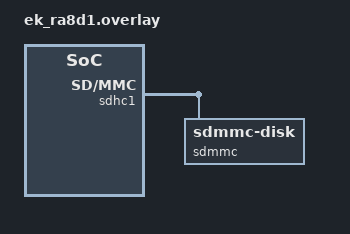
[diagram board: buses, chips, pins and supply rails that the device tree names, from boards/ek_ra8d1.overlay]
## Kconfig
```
# SPDX-License-Identifier: Apache-2.0
# Copyright 2022 NXP

mainmenu "Disk driver access test"

config MAIN_STACK_SIZE
	default 1280 if (MMC_STACK && IMX_USDHC)

source "Kconfig.zephyr"
```

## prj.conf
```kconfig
CONFIG_TEST=y
CONFIG_ZTEST=y
CONFIG_DISK_ACCESS=y
CONFIG_MAIN_STACK_SIZE=2048
```

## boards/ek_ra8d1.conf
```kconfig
CONFIG_DISK_DRIVER_SDMMC=y
```

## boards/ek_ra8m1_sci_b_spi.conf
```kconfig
# Copyright (c) 2025 Renesas Electronics Corporation
# SPDX-License-Identifier: Apache-2.0

CONFIG_MAIN_STACK_SIZE=1280
```

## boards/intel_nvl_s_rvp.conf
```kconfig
CONFIG_NVME=y
CONFIG_PCIE_MSI=y
CONFIG_PCIE_MSI_X=y
CONFIG_PCIE_MSI_MULTI_VECTOR=y
```

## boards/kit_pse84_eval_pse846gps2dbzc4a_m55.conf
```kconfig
# SPDX-FileCopyrightText: Copyright (c) 2026 Infineon Technologies AG,
# SPDX-FileCopyrightText: or an affiliate of Infineon Technologies AG. All rights reserved.
#
# SPDX-License-Identifier: Apache-2.0

CONFIG_MAIN_STACK_SIZE=4096
```

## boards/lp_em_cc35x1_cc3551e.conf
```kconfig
CONFIG_SDHC=y
CONFIG_SDHC_TI_CC35XX=y

# Disable SPI due to pin conflict
CONFIG_SPI=n
CONFIG_SPI_CC35XX=n
```

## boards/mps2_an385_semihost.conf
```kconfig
# Copyright (c) 2026 RBR Ltd.
# SPDX-License-Identifier: Apache-2.0

CONFIG_SEMIHOST=y
```

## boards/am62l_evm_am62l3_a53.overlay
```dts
/*
 * Copyright (c) 2026 Texas Instruments
 *
 * SPDX-License-Identifier: Apache-2.0
 */

&main_sdhci0 {
	mmc {
		disk-name = "SD2";
	};
};

&main_sdhci1 {
	status = "disabled";

	sd {
		status = "disabled";
	};
};
```

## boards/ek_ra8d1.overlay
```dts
/*
 * Copyright (c) 2024 Renesas Electronics Corporation
 * SPDX-License-Identifier: Apache-2.0
 */

/ {
	aliases {
		sdhc1 = &sdhc1;
	};
};

&sdhc1 {
	compatible = "renesas,ra-sdhc";
	interrupt-names = "accs", "card", "dma-req";
	interrupts = <60 12>, <61 12>, <62 12>;
	pinctrl-0 = <&sdhc1_default>;
	pinctrl-names = "default";
	status = "okay";
	sdmmc {
		compatible = "zephyr,sdmmc-disk";
		disk-name = "SD";
		status = "okay";
	};
};
```

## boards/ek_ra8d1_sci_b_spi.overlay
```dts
/*
 * Copyright (c) 2025 Renesas Electronics Corporation
 * SPDX-License-Identifier: Apache-2.0
 */

&pinctrl {
	/* Set SW1-1 (PMOD1) to low and SW1-7 (SDRAM) to high */
	sci0_spi_default: sci0_spi_default {
		group1 {
			/* MISO MOSI SCK */
			psels = <RA_PSEL(RA_PSEL_SCI_0, 6, 10)>,
				<RA_PSEL(RA_PSEL_SCI_0, 6, 9)>,
				<RA_PSEL(RA_PSEL_SCI_0, 6, 11)>;
			drive-strength = "high";
		};
	};
};

&ioport6 {
	status = "okay";
};

&sci0 {
	pinctrl-0 = <&sci0_spi_default>;
	pinctrl-names = "default";

	spi {
		cs-gpios = <&ioport6 0x7 GPIO_ACTIVE_LOW>;
		status = "okay";

		sdcard@0 {
			compatible = "zephyr,sdhc-spi-slot";
			reg = <0>;
			spi-max-frequency = <1000000>;
			status = "okay";

			sdmmc {
				compatible = "zephyr,sdmmc-disk";
				disk-name = "SD";
				status = "okay";
			};
		};
	};

	uart {
		status = "disabled";
	};

	i2c {
		status = "disabled";
	};
};
```

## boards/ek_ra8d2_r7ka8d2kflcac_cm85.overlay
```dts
/*
 * Copyright (c) 2025 Renesas Electronics Corporation
 * SPDX-License-Identifier: Apache-2.0
 */

&pinctrl {
	sdhc1_default: sdhc1_default {
		group1 {
			psels = <RA_PSEL(RA_PSEL_SDHI, 4, 6)>, /* SDCD */
				<RA_PSEL(RA_PSEL_SDHI, 4, 1)>, /* SDCMD */
				<RA_PSEL(RA_PSEL_SDHI, 4, 2)>, /* SDDATA0 */
				<RA_PSEL(RA_PSEL_SDHI, 4, 3)>, /* SDDATA1 */
				<RA_PSEL(RA_PSEL_SDHI, 4, 4)>, /* SDDATA2 */
				<RA_PSEL(RA_PSEL_SDHI, 4, 5)>, /* SDDATA3 */
				<RA_PSEL(RA_PSEL_SDHI, 7, 0)>; /* SDWP */
			drive-strength = "high";
		};

		group2 {
			psels = <RA_PSEL(RA_PSEL_SDHI, 4, 0)>; /* SDCLK */
			drive-strength = "highspeed-high";
		};
	};
};

&sdhc1 {
	pinctrl-0 = <&sdhc1_default>;
	pinctrl-names = "default";
	interrupt-names = "accs", "card", "dma-req", "sdio-int";
	interrupts = <95 1>, <94 1>, <93 1>, <92 1>;
	status = "okay";

	sdmmc {
		compatible = "zephyr,sdmmc-disk";
		disk-name = "SD";
		status = "okay";
	};
};
```

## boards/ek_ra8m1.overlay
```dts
/*
 * Copyright (c) 2025 Renesas Electronics Corporation
 * SPDX-License-Identifier: Apache-2.0
 */

&pinctrl {
	sci3_spi_default: sci3_spi_default {
		group1 {
			/* MISO MOSI SCK */
			psels = <RA_PSEL(RA_PSEL_SCI_3, 9, 1)>,
				<RA_PSEL(RA_PSEL_SCI_3, 9, 0)>,
				<RA_PSEL(RA_PSEL_SCI_3, 3, 15)>;
			drive-strength = "high";
		};
	};
};

&ioport7 {
	status = "okay";
};

&sci3 {
	pinctrl-0 = <&sci3_spi_default>;
	pinctrl-names = "default";

	spi {
		cs-gpios = <&ioport7 13 GPIO_ACTIVE_LOW>;
		status = "okay";

		sdhc@0 {
			compatible = "zephyr,sdhc-spi-slot";
			reg = <0>;
			status = "okay";
			mmc {
				compatible = "zephyr,sdmmc-disk";
				disk-name = "SD";
				status = "okay";
			};
			spi-max-frequency = <1000000>;
		};
	};

	uart {
		status = "disabled";
	};

	i2c {
		status = "disabled";
	};

};
```

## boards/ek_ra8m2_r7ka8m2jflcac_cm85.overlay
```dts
/*
 * Copyright (c) 2025 Renesas Electronics Corporation
 * SPDX-License-Identifier: Apache-2.0
 */

&pinctrl {
	sdhc1_default: sdhc1_default {
		group1 {
			psels = <RA_PSEL(RA_PSEL_SDHI, 2, 5)>, /* SDCD */
				<RA_PSEL(RA_PSEL_SDHI, 2, 2)>, /* SDCMD */
				<RA_PSEL(RA_PSEL_SDHI, 3, 13)>, /* SDDATA0 */
				<RA_PSEL(RA_PSEL_SDHI, 3, 14)>, /* SDDATA1 */
				<RA_PSEL(RA_PSEL_SDHI, 4, 4)>, /* SDDATA2 */
				<RA_PSEL(RA_PSEL_SDHI, 8, 11)>, /* SDDATA3 */
				<RA_PSEL(RA_PSEL_SDHI, 2, 4)>; /* SDWP */
			drive-strength = "high";
		};

		group2 {
			psels = <RA_PSEL(RA_PSEL_SDHI, 2, 3)>; /* SDCLK */
			drive-strength = "highspeed-high";
		};
	};
};

&sdhc1 {
	pinctrl-0 = <&sdhc1_default>;
	pinctrl-names = "default";
	interrupt-names = "accs", "card", "dma-req", "sdio-int";
	interrupts = <95 1>, <94 1>, <93 1>, <92 1>;
	status = "okay";

	sdmmc {
		compatible = "zephyr,sdmmc-disk";
		disk-name = "SD";
		status = "okay";
	};
};
```

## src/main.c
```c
/*
 * Copyright (c) 2021 NXP
 *
 * SPDX-License-Identifier: Apache-2.0
 */

/*
 * WARNING: This test will overwrite data on any disk utilized. Do not run
 * this test with an disk that has useful data
 */

#include <zephyr/kernel.h>
#include <zephyr/ztest.h>
#include <zephyr/storage/disk_access.h>
#include <zephyr/device.h>

#ifdef CONFIG_DISK_DRIVER_LOOPBACK
#include <ff.h>
#include <zephyr/fs/fs.h>
#include <zephyr/drivers/loopback_disk.h>
#endif

#if defined(CONFIG_DISK_DRIVER_SDMMC)
#define DISK_NAME_PHYS "SD"
#elif defined(CONFIG_DISK_DRIVER_MMC)
#define DISK_NAME_PHYS "SD2"
#elif defined(CONFIG_DISK_DRIVER_FLASH) || defined(CONFIG_DISK_DRIVER_FTL)
#define DISK_NAME_PHYS "NAND"
#elif defined(CONFIG_NVME)
#define DISK_NAME_PHYS "nvme0n0"
#elif defined(CONFIG_DISK_DRIVER_VIRTIO_BLK)
#define DISK_NAME_PHYS "VIRTIOBLK0"
#elif defined(CONFIG_DISK_DRIVER_SEMIHOST)
#define DISK_NAME_PHYS "SEMIHOST"
#elif defined(CONFIG_DISK_DRIVER_MEMC_RAM)
#define DISK_NAME_PHYS "RAM"
#elif defined(CONFIG_DISK_DRIVER_RAM)
/* Since ramdisk is enabled by default on e.g. qemu boards, it needs to be checked last to not
 * override other backends.
 */
#define DISK_NAME_PHYS "RAM"
#else
#error "No disk device defined, is your board supported?"
#endif

#define RAM_SIZE (DT_CHOSEN_SRAM_SIZE / 1024)

/* QEMU can be told to advertise a larger logical block size (the
 * virtio_blk.blk4096 scenario); use it to size the scratch buffers so
 * sector_size * SECTOR_COUNT_MAX still fits in BUF_SIZE.
 */
#if defined(CONFIG_QEMU_VIRTIO_BLK_LOGICAL_BLOCK_SIZE)
#define TEST_QEMU_LOGICAL_BLOCK_SIZE CONFIG_QEMU_VIRTIO_BLK_LOGICAL_BLOCK_SIZE
#else
#define TEST_QEMU_LOGICAL_BLOCK_SIZE 0
#endif

#if RAM_SIZE >= 512
#if TEST_QEMU_LOGICAL_BLOCK_SIZE > 512
/* A larger logical block needs a proportionally larger buffer. */
#define MAX_TOTAL_BUF_SIZE 256
#else
/* Cap buffer size at 128 KiB */
#define MAX_TOTAL_BUF_SIZE 128
#endif
#elif CONFIG_SOC_POSIX
/* Posix does not define SRAM size */
#define MAX_TOTAL_BUF_SIZE 128
#else
/* Use half of all SRAM */
#define MAX_TOTAL_BUF_SIZE (RAM_SIZE / 2)
#endif

#define BUF_SIZE ((MAX_TOTAL_BUF_SIZE * 1024) / 2)

#ifdef CONFIG_DISK_DRIVER_LOOPBACK
#define DISK_NAME "loopback0"
#else
#define DISK_NAME DISK_NAME_PHYS
#endif

/* Sector counts to read */
#define SECTOR_COUNT1    8
#define SECTOR_COUNT2    1
#define SECTOR_COUNT3    29
#define SECTOR_COUNT4    31
#define SECTOR_COUNT_MAX 32

#define OVERFLOW_CANARY 0xDE

static const char *disk_pdrv = DISK_NAME;
static uint32_t disk_sector_count;
static uint32_t disk_sector_size;

/* + 4 to make sure the second buffer is dword-aligned for NVME */
static uint8_t scratch_buf[2][BUF_SIZE + 4];

#ifdef CONFIG_DISK_DRIVER_LOOPBACK
#define BACKING_PATH "/" DISK_NAME_PHYS ":"

static struct loopback_disk_access lo_access;
static FATFS fat_fs;
static struct fs_mount_t backing_mount = {
	.type = FS_FATFS,
	.mnt_point = BACKING_PATH,
	.fs_data = &fat_fs,
};
static const uint8_t zero_kb[1024] = {};
static void setup_loopback_backing(void)
{
	int rc;

	rc = fs_mkfs(FS_FATFS, (uintptr_t)&BACKING_PATH[1], NULL, 0);
	zassert_equal(rc, 0, "Failed to format backing file system");

	rc = fs_mount(&backing_mount);
	zassert_equal(rc, 0, "Failed to mount backing file system");

	struct fs_file_t f;

	fs_file_t_init(&f);
	rc = fs_open(&f, BACKING_PATH "/loopback.img", FS_O_WRITE | FS_O_CREATE);
	zassert_equal(rc, 0, "Failed to create backing file");
	for (int i = 0; i < 64; i++) {
		rc = fs_write(&f, zero_kb, sizeof(zero_kb));
		zassert_equal(rc, sizeof(zero_kb), "Failed to enlarge backing file");
	}
	rc = fs_close(&f);
	zassert_equal(rc, 0, "Failed to close backing file");

	rc = loopback_disk_access_register(&lo_access, BACKING_PATH "/loopback.img", DISK_NAME);
	zassert_equal(rc, 0, "Loopback disk access initialization failed");
}
#endif

/* Sets up test by initializing disk */
static void test_setup(void)
{
	int rc;
	uint32_t cmd_buf;

	rc = disk_access_init(disk_pdrv);
	zassert_equal(rc, 0, "Disk access initialization failed");

	rc = disk_access_status(disk_pdrv);
	zassert_equal(rc, DISK_STATUS_OK, "Disk status is not OK");

	rc = disk_access_ioctl(disk_pdrv, DISK_IOCTL_GET_SECTOR_COUNT, &cmd_buf);
	zassert_equal(rc, 0, "Disk ioctl get sector count failed");

	TC_PRINT("Disk reports %u sectors\n", cmd_buf);
	disk_sector_count = cmd_buf;

	rc = disk_access_ioctl(disk_pdrv, DISK_IOCTL_GET_SECTOR_SIZE, &cmd_buf);
	zassert_equal(rc, 0, "Disk ioctl get sector size failed");
	TC_PRINT("Disk reports sector size %u\n", cmd_buf);
	disk_sector_size = cmd_buf;

	/* We could allocate memory once we know the sector size, but instead
	 * just verify our assumed maximum size
	 */
	zassert_true(
		(disk_sector_size * SECTOR_COUNT_MAX) <= BUF_SIZE,
		"Test will fail, sector does not fit in buffer, buffer size must be increased");
}

/* Reads sectors, verifying overflow does not occur */
static int read_sector(uint8_t *buf, uint32_t start, uint32_t num_sectors)
{
	int rc;

	/* Set up overflow canary */
	buf[num_sectors * disk_sector_size] = OVERFLOW_CANARY;
	rc = disk_access_read(disk_pdrv, buf, start, num_sectors);
	/* Check canary */
	zassert_equal(buf[num_sectors * disk_sector_size], OVERFLOW_CANARY,
		      "Read overflowed requested length");
	return rc; /* Let calling function check return code */
}

/* Tests reading from a variety of sectors */
static void test_sector_read(uint8_t *buf, uint32_t num_sectors)
{
	int rc, sector;

	TC_PRINT("Testing reads of %u sectors\n", num_sectors);
	/* Read from disk sector 0*/
	rc = read_sector(buf, 0, num_sectors);
	zassert_equal(rc, 0, "Failed to read from sector zero");
	/* Read from a sector in the "middle" of the disk */
	if (disk_sector_count / 2 > num_sectors) {
		sector = disk_sector_count / 2 - num_sectors;
	} else {
		sector = 0;
	}

	rc = read_sector(buf, sector, num_sectors);
	zassert_equal(rc, 0, "Failed to read from mid disk sector");
	/* Read from the last sector */
	rc = read_sector(buf, disk_sector_count - 1, num_sectors);
	if (num_sectors == 1) {
		zassert_equal(rc, 0, "Failed to read from last sector");
	} else {
		zassert_not_equal(rc, 0, "Disk should fail to read out of sector bounds");
	}
}

/* Write sector of disk, and check the data to ensure it is valid
 * WARNING: this test is destructive- it will overwrite data on the disk!
 */
static int write_sector_checked(uint8_t *wbuf, uint8_t *rbuf, uint32_t start, uint32_t num_sectors)
{
	int rc, i;

	/* First, fill the write buffer with data */
	for (i = 0; i < num_sectors * disk_sector_size; i++) {
		wbuf[i] = (i & (~num_sectors));
	}
	/* Now write data to the sector */
	rc = disk_access_write(disk_pdrv, wbuf, start, num_sectors);
	if (rc) {
		return rc; /* Let calling function handle disk error */
	}
	/* Read back the written data into another buffer */
	memset(rbuf, 0, num_sectors * disk_sector_size);
	rc = read_sector(rbuf, start, num_sectors);
	if (rc) {
		return rc;
	}
	/* Check the read data versus the written data */
	zassert_mem_equal(wbuf, rbuf, num_sectors * disk_sector_size,
			  "Read data did not match data written to disk");
	return rc;
}

static int erase_sector_checked(uint8_t *rbuf, uint32_t start, uint32_t num_sectors)
{
	int rc, i;

	/* Erase the specified sectors */
	rc = disk_access_erase(disk_pdrv, start, num_sectors, DISK_ACCESS_ERASE_PHYSICAL);
	if (rc) {
		return rc; /* Let calling function handle disk error */
	}

	/* Read the erased sectors */
	rc = read_sector(rbuf, start, num_sectors);
	if (rc) {
		return rc;
	}

	/* All data should be equal 0x00 or 0xFF */
	for (i = 0; i < num_sectors * disk_sector_size; i++) {
		zassert_true((rbuf[i] == 0x00) || (rbuf[i] == 0xFF),
			     "Data not erased from disk sector %u", start + i);
	}
	return 0;
}

/* Tests writing to a variety of sectors
 * WARNING: this test is destructive- it will overwrite data on the disk!
 */
static void test_sector_write(uint8_t *wbuf, uint8_t *rbuf, uint32_t num_sectors)
{
	int rc, sector;

	TC_PRINT("Testing writes of %u sectors\n", num_sectors);
	/* Write to disk sector zero */
	rc = write_sector_checked(wbuf, rbuf, 0, num_sectors);
	zassert_equal(rc, 0, "Failed to write to sector zero");
	/* Write to a sector in the "middle" of the disk */
	if (disk_sector_count / 2 > num_sectors) {
		sector = disk_sector_count / 2 - num_sectors;
	} else {
		sector = 0;
	}

	rc = write_sector_checked(wbuf, rbuf, sector, num_sectors);
	zassert_equal(rc, 0, "Failed to write to mid disk sector");
	/* Write to the last sector */
	rc = write_sector_checked(wbuf, rbuf, disk_sector_count - 1, num_sectors);
	if (num_sectors == 1) {
		zassert_equal(rc, 0, "Failed to write to last sector");
	} else {
		zassert_not_equal(rc, 0, "Disk should fail to write out of sector bounds");
	}
}

/* Tests erasing a variety of sectors
 * WARNING: this test is destructive- it will overwrite data on the disk!
 */
static void test_sector_erase(uint8_t *wbuf, uint8_t *rbuf, uint32_t num_sectors)
{
	int rc, sector;

	TC_PRINT("Testing erase of %u sectors\n", num_sectors);
	/* Write and erase disk sector zero */
	rc = write_sector_checked(wbuf, rbuf, 0, num_sectors);
	zassert_equal(rc, 0, "Failed to write to sector zero");
	rc = erase_sector_checked(rbuf, 0, num_sectors);
	zassert_equal(rc, 0, "Failed to erase sector zero");

	/* Write and erase sectors in the "middle" of the disk */
	if (disk_sector_count / 2 > num_sectors) {
		sector = disk_sector_count / 2 - num_sectors;
	} else {
		sector = 0;
	}
	rc = write_sector_checked(wbuf, rbuf, sector, num_sectors);
	zassert_equal(rc, 0, "Failed to write to mid disk sector");
	rc = erase_sector_checked(rbuf, sector, num_sectors);
	zassert_equal(rc, 0, "Failed to erase mid disk sector");

	/* Write and erase the last sector */
	rc = write_sector_checked(wbuf, rbuf, disk_sector_count - num_sectors, num_sectors);
	zassert_equal(rc, 0, "Failed to write to last sector");
	rc = erase_sector_checked(rbuf, disk_sector_count - num_sectors, num_sectors);
	zassert_equal(rc, 0, "Failed to erase last sector");

	/* Try and erase past the last sector */
	rc = erase_sector_checked(rbuf, disk_sector_count - num_sectors + 1, num_sectors);
	zassert_not_equal(rc, 0, "Should fail when attempting to erase past end of disk");
	rc = erase_sector_checked(rbuf, disk_sector_count + 1, num_sectors);
	zassert_not_equal(rc, 0, "Should fail when attempting to erase past end of disk");
	rc = erase_sector_checked(rbuf, UINT32_MAX, num_sectors);
	zassert_not_equal(rc, 0, "Should fail when attempting to erase past end of disk");
}

/* Test multiple reads in series, and reading from a variety of blocks */
ZTEST(disk_driver, test_read)
{
	int rc, i;

	/* Verify all 4 read sizes work */
	test_sector_read(scratch_buf[0], SECTOR_COUNT1);
	test_sector_read(scratch_buf[0], SECTOR_COUNT2);
	test_sector_read(scratch_buf[0], SECTOR_COUNT3);
	test_sector_read(scratch_buf[0], SECTOR_COUNT4);

	/* Verify that reading from the same location returns to same data */
	memset(scratch_buf[0], 0, SECTOR_COUNT1 * disk_sector_size);
	rc = read_sector(scratch_buf[0], 0, SECTOR_COUNT1);
	zassert_equal(rc, 0, "Failed to read from disk");
	for (i = 0; i < 10; i++) {
		/* Read from sector, and compare it to the first read */
		memset(scratch_buf[1], 0xff, SECTOR_COUNT1 * disk_sector_size);
		rc = read_sector(scratch_buf[1], 0, SECTOR_COUNT1);
		zassert_equal(rc, 0, "Failed to read from disk at same sector location");
		zassert_mem_equal(scratch_buf[1], scratch_buf[0], SECTOR_COUNT1 * disk_sector_size,
				  "Multiple reads mismatch");
	}
}

/* test writing data, and then verifying it was written correctly.
 * WARNING: this test is destructive- it will overwrite data on the disk!
 */
ZTEST(disk_driver, test_write)
{
	int rc, i;

	/* Verify all 4 sector write sizes work */
	test_sector_write(scratch_buf[0], scratch_buf[1], SECTOR_COUNT1);
	test_sector_write(scratch_buf[0], scratch_buf[1], SECTOR_COUNT2);
	test_sector_write(scratch_buf[0], scratch_buf[1], SECTOR_COUNT3);
	test_sector_write(scratch_buf[0], scratch_buf[1], SECTOR_COUNT4);

	/* Verify that multiple writes to the same location work */
	for (i = 0; i < 10; i++) {
		/* Write to sector- helper function verifies written data is correct */
		rc = write_sector_checked(scratch_buf[0], scratch_buf[1], 0, SECTOR_COUNT1);
		zassert_equal(rc, 0, "Failed to write to disk at same sector location");
	}
}

/* Test multiple erases in series, and erasing from a variety of blocks */
ZTEST(disk_driver, test_erase)
{
	int rc, i;

	/* Skip the test if erasing not supported by the driver */
	if (disk_access_erase(disk_pdrv, 0, 1, DISK_ACCESS_ERASE_PHYSICAL) == -EINVAL) {
		ztest_test_skip();
		return;
	}

	/* Test erasing with a bad erase type */
	rc = disk_access_erase(disk_pdrv, 0, 1, DISK_ACCESS_ERASE_PHYSICAL + 1);
	zassert_equal(-EINVAL, rc);

	/* Verify a range of erase sizes work */
	test_sector_erase(scratch_buf[0], scratch_buf[1], 8);
	test_sector_erase(scratch_buf[0], scratch_buf[1], 16);
	test_sector_erase(scratch_buf[0], scratch_buf[1], 24);
	test_sector_erase(scratch_buf[0], scratch_buf[1], 32);

	/* Verify that multiple erases to the same location work */
	for (i = 0; i < 10; i++) {
		rc = erase_sector_checked(scratch_buf[1], 0, 16);
		zassert_equal(0, rc, "Failed to erase sector zero");
	}
}

static void *disk_driver_setup(void)
{
#ifdef CONFIG_DISK_DRIVER_LOOPBACK
	setup_loopback_backing();
#endif
	test_setup();

	return NULL;
}

static void disk_driver_teardown(void *fixture)
{
#ifdef CONFIG_DISK_DRIVER_LOOPBACK
	(void)loopback_disk_access_unregister(&lo_access);
#endif
}

ZTEST_SUITE(disk_driver, NULL, disk_driver_setup, NULL, NULL, disk_driver_teardown);
```
